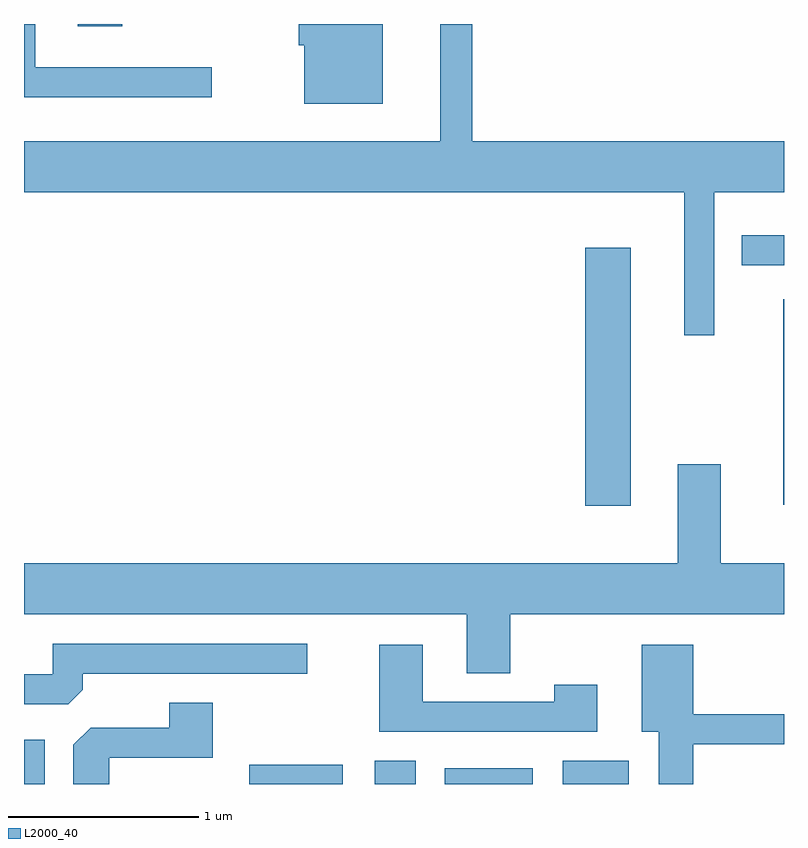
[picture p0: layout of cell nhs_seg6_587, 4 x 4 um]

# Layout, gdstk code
import gdstk
lib = gdstk.Library(unit=1e-6, precision=1e-09)
def R(c, l, rs):  # rectangles x0, y0, x1, y1
    for r in rs: c.add(gdstk.rectangle(r[:2], r[2:], *l))
def P(c, l, *ps):  # polygons
    for p in ps: c.add(gdstk.Polygon(p, *l))
L2000_40 = (2000, 40)

nhs_seg6_587 = lib.new_cell('nhs_seg6_587')
R(nhs_seg6_587, L2000_40, [(201.611,1640.162,201.719,1640.394), (202.796,1640.162,203.289,1640.264), (203.456,1640.162,203.674,1640.284), (203.826,1640.162,204.289,1640.244), (204.446,1640.162,204.794,1640.284), (204.566,1641.626,204.804,1642.984), (205.606,1641.633,205.611,1642.713), (205.388,1642.891,205.611,1643.049), (201.893,1644.151,202.129,1644.162)])
P(nhs_seg6_587, L2000_40, [(205.244,1643.276),(205.611,1643.276),(205.611,1643.544),(203.969,1643.544),(203.969,1644.162),(203.801,1644.162),(203.801,1643.544),(201.611,1643.544),(201.611,1643.276),(205.086,1643.276),(205.086,1642.523),(205.244,1642.523)],
  [(202.598,1643.934),(201.669,1643.934),(201.669,1644.162),(201.611,1644.162),(201.611,1643.776),(202.598,1643.776)],
  [(203.499,1644.162),(203.056,1644.162),(203.056,1644.051),(203.086,1644.051),(203.086,1643.741),(203.499,1643.741)],
  [(204.169,1641.056),(205.611,1641.056),(205.611,1641.324),(205.279,1641.324),(205.279,1641.844),(205.051,1641.844),(205.051,1641.324),(201.611,1641.324),(201.611,1641.056),(203.941,1641.056),(203.941,1640.746),(204.169,1640.746)],
  [(201.919,1640.657),(201.919,1640.741),(203.103,1640.741),(203.103,1640.899),(201.761,1640.899),(201.761,1640.739),(201.611,1640.739),(201.611,1640.581),(201.844,1640.581)],
  [(204.629,1640.684),(204.401,1640.684),(204.401,1640.594),(203.709,1640.594),(203.709,1640.894),(203.481,1640.894),(203.481,1640.436),(204.629,1640.436)],
  [(205.134,1640.371),(205.611,1640.371),(205.611,1640.529),(205.134,1640.529),(205.134,1640.894),(204.861,1640.894),(204.861,1640.436),(204.951,1640.436),(204.951,1640.162),(205.134,1640.162)],
  [(202.059,1640.301),(202.604,1640.301),(202.604,1640.589),(202.376,1640.589),(202.376,1640.459),(201.962,1640.459),(201.871,1640.369),(201.871,1640.162),(202.059,1640.162)])

lib.write_gds('nhs_seg6_587.gds')
